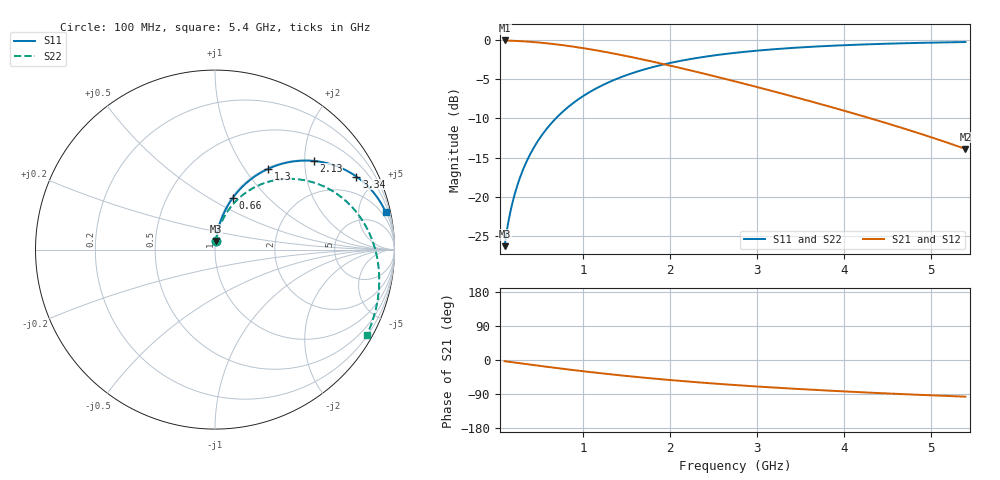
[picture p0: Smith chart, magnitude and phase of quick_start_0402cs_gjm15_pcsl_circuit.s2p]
! Touchstone file generated by Optenni Lab on 2026-07-16T18:24:52
# Hz S RI R 50
! freq S11(real imag) S21(real imag) S12(real imag) S22(real imag)
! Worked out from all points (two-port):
!   531 points, 100 MHz to 5.4 GHz, reference 50 ohm
!   highest |S21| = -0.04 dB at 100 MHz (marker M1); lowest = -13.9 dB at 5.4 GHz (marker M2)
!   |S21| within 3 dB of the highest: start of sweep to 1.92 GHz
!   lowest |S11| = -26.3 dB at 100 MHz (marker M3), VSWR 1.10, Z = 50.3 + j4.84 ohm
!   |S11| at or under -10 dB: start of sweep to 689 MHz
!   |S22| runs from -26.3 to -0.3 dB; largest |S21 - S12| = 0
!   S11 on the Smith chart (normalised r, x): 100 MHz: 1.01, +0.10; 660 MHz: 1.01, +0.64; 1.3 GHz: 1.02, +1.29; 2.13 GHz: 1.02, +2.21; 3.34 GHz: 1.02, +3.87; 5.4 GHz: 1.16, +9.03
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1e8  0.00548 0.048  0.9942 -0.0542  0.9942 -0.0542  0.00612 0.0479
1.6e8  0.00984 0.0764  0.9893 -0.0863  0.9893 -0.0863  0.0115 0.0761
2e8  0.0136 0.0951  0.9851 -0.1075  0.9851 -0.1075  0.0161 0.0947
2.5e8  0.0191 0.1182  0.9788 -0.1335  0.9788 -0.1335  0.0231 0.1175
3.1e8  0.0271 0.1453  0.9697 -0.1642  0.9697 -0.1642  0.0331 0.1441
3.8e8  0.0381 0.1762  0.9571 -0.199  0.9571 -0.199  0.047 0.174
4.6e8  0.053 0.2101  0.9402 -0.2373  0.9402 -0.2373  0.0658 0.2064
5.5e8  0.0722 0.2463  0.9182 -0.2781  0.9182 -0.2781  0.0901 0.2403
6.6e8  0.099 0.2875  0.8875 -0.3243  0.8875 -0.3243  0.124 0.2777
8.1e8  0.1403 0.3376  0.8403 -0.3804  0.8403 -0.3804  0.176 0.3204
9.9e8  0.1952 0.388  0.7775 -0.4365  0.7775 -0.4365  0.2448 0.3588
1.3e9  0.2964 0.4501  0.6622 -0.5044  0.6622 -0.5044  0.3699 0.3919
1.57e9  0.3846 0.4811  0.562 -0.5368  0.562 -0.5368  0.4765 0.3902
1.87e9  0.4768 0.4951  0.458 -0.5493  0.458 -0.5493  0.5846 0.3614
2.13e9  0.5494 0.4939  0.3768 -0.5448  0.3768 -0.5448  0.6661 0.3191
2.44e9  0.6256 0.481  0.2923 -0.5264  0.2923 -0.5264  0.7468 0.2543
2.75e9  0.6909 0.4596  0.2212 -0.4984  0.2212 -0.4984  0.8098 0.1794
3.34e9  0.788 0.4066  0.1186 -0.432  0.1186 -0.432  0.8857 0.0245
3.64e9  0.826 0.3769  0.0802 -0.3956  0.0802 -0.3956  0.9054 -0.0556
4.06e9  0.8689 0.3348  0.0392 -0.3449  0.0392 -0.3449  0.9152 -0.1653
4.52e9  0.9047 0.2896  0.00778 -0.2917  0.00778 -0.2917  0.9064 -0.2797
5.4e9  0.9499 0.2094  -0.0235 -0.2005  -0.0235 -0.2005  0.8458 -0.4763
